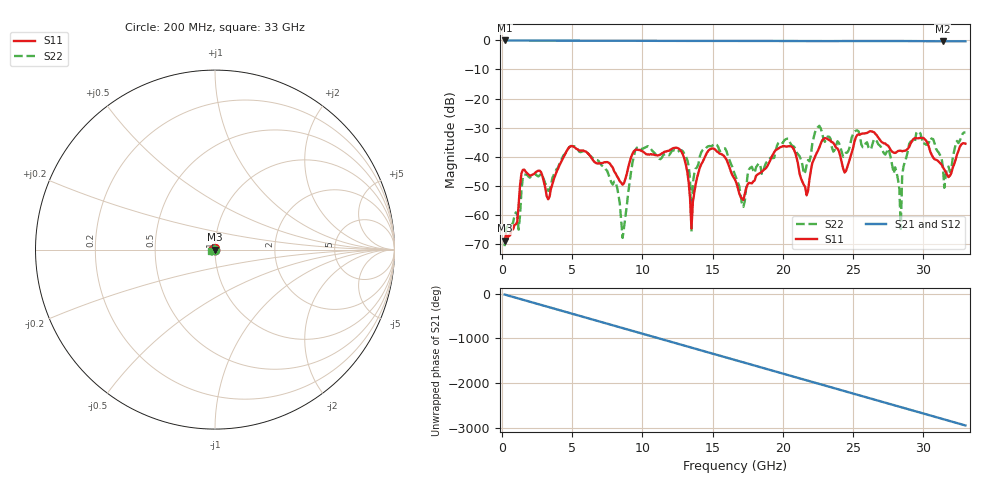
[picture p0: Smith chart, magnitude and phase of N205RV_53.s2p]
# GHZ S RI R 50
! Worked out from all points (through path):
!   329 points, 200 MHz to 33 GHz, reference 50 ohm
!   highest |S21| = -0.02 dB at 200 MHz (marker M1); lowest = -0.3 dB at 31.4 GHz (marker M2)
!   group delay of S21, straight-line fit = 248 ps
!   lowest |S11| = -68.9 dB at 200 MHz (marker M3), VSWR 1.00, Z = 50 - j0.0226 ohm
!   |S11| at or under -10 dB: start of sweep to end of sweep
!   |S22| runs from -70.8 to -29.4 dB; largest |S21 - S12| = 0.0019
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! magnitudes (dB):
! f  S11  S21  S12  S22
! 200 MHz  -68.9  0.0  0.0  -70.8
! 1.2 GHz  -56.4  0.0  0.0  -65.1
! 1.5 GHz  -44.5  -0.1  -0.1  -47.0
! 3.3 GHz  -54.6  -0.1  -0.1  -51.7
! 5.7 GHz  -37.9  -0.1  -0.1  -38.3
! 8.1 GHz  -45.7  -0.1  -0.1  -48.6
! 8.6 GHz  -49.6  -0.1  -0.1  -67.9
! 9.5 GHz  -37.7  -0.1  -0.1  -37.8
! 11.2 GHz  -39.4  -0.2  -0.2  -40.7
! 13.1 GHz  -42.7  -0.2  -0.2  -39.8
! 13.5 GHz  -64.6  -0.2  -0.2  -65.7
! 13.6 GHz  -55.6  -0.2  -0.2  -49.1
! 14.3 GHz  -41.7  -0.2  -0.2  -37.7
! 16.6 GHz  -47.9  -0.2  -0.2  -46.2
! 17.2 GHz  -54.9  -0.2  -0.2  -57.2
! 22.1 GHz  -42.2  -0.2  -0.2  -35.5
! 27.6 GHz  -37.0  -0.2  -0.2  -38.6
! 28.4 GHz  -37.9  -0.2  -0.2  -64.8
! 28.5 GHz  -38.1  -0.2  -0.2  -46.3
! 29.1 GHz  -35.5  -0.2  -0.2  -34.8
! 31.4 GHz  -43.6  -0.3  -0.3  -43.5
! 33 GHz  -35.5  -0.3  -0.3  -31.6
